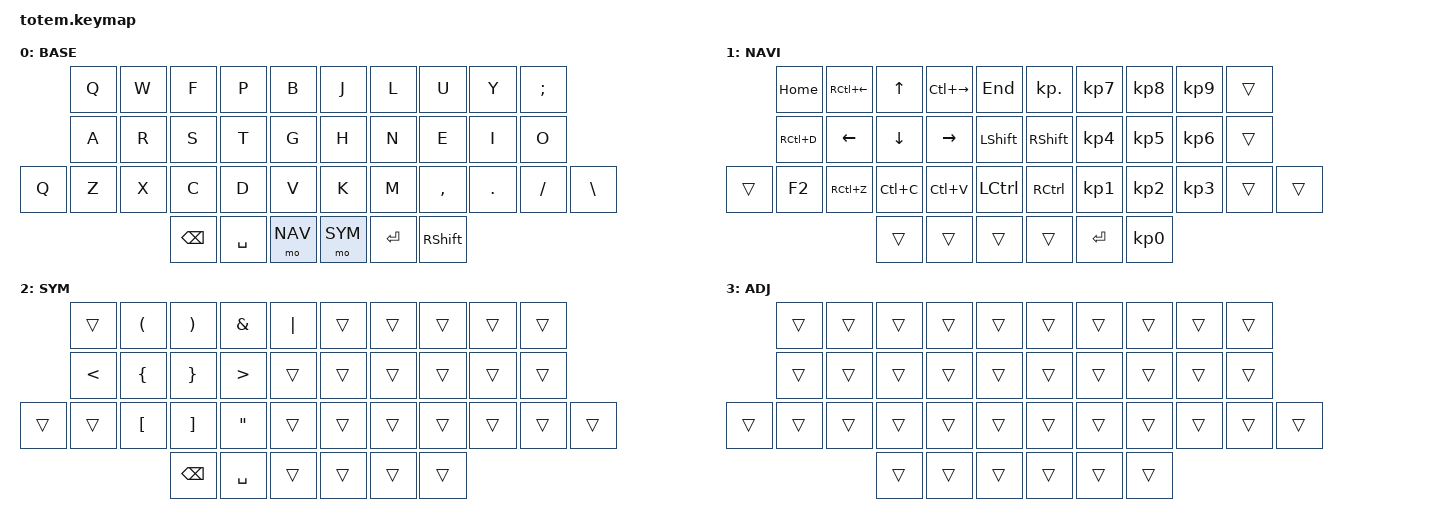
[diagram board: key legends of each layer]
//

//                                                        ▀▀▀▀▀     ▀▀▀▀▀          ▀▀█▀▀

//                                                        ▄▀▀▀▄  ▄  ▄▀▀▀▄  ▄  ▄▀▀▀▄  █  ▄▀▀▀▄

//                                                        █   █  █  █   █  █  █   █  █  █   █

//                                                         ▀▀▀   █   ▀▀▀   █   ▀▀▀   ▀   ▀▀▀

//                                                               █      ▄▄▄█▄▄▄    █   █  

//                                                               ▀      █  █  █     █▄█

//                                                             ▀▀▀▀▀    █  █  █      ▀

//                                                                      ▀  ▀  ▀
//
// ▄▄▄▄▄▄▄▄▄▄▄▄▄▄▄▄▄▄▄▄▄▄▄▄▄▄▄▄▄▄▄▄▄▄▄▄▄▄▄▄▄▄▄▄▄▄▄▄▄▄▄▄▄▄▄▄▄▄▄▄▄▄▄▄▄▄▄▄▄▄▄▄▄▄▄▄▄▄▄▄▄▄▄▄▄▄▄▄▄▄▄▄▄▄▄▄▄▄▄▄▄▄▄▄▄▄▄▄▄▄▄▄▄▄▄▄▄▄▄▄▄▄▄▄▄▄▄▄▄▄▄▄▄▄▄▄▄▄▄▄▄▄▄▄▄▄▄▄▄


#include <behaviors.dtsi>
#include <dt-bindings/zmk/keys.h>

#define BASE 0
#define NAV  1
#define SYM  2
#define ADJ  3
#define TVP1 4
#define TVP2 5

&mt {
    quick-tap-ms = <100>;
    global-quick-tap;
    flavor = "tap-preferred";
    tapping-term-ms = <170>;
};

/ {
    combos {
        compatible = "zmk,combos";

        combo_esc {
            timeout-ms = <50>;
            key-positions = <0 1>;
            bindings = <&kp ESC>;
        };

        third_layer {
            bindings = <&mo ADJ>;
            key-positions = <34 35>;
        };

        bootloader {
            bindings = <&bootloader>;
            key-positions = <0 4 5 9>;
        };
    };

    macros {
        NavWordLeft: NavWordLeft {
            compatible = "zmk,behavior-macro";
            #binding-cells = <0>;
            bindings = <&none>, <&macro_press>, <&kp LC(LEFT)>;

            label = "NAVWORDLEFT";
        };
    };

    keymap {
        compatible = "zmk,keymap";

        // ▄▄▄▄▄▄▄▄▄▄▄▄▄▄▄▄▄▄▄▄▄▄▄▄▄▄▄▄▄▄▄▄▄▄▄▄▄▄▄▄▄▄▄▄▄▄▄▄▄▄▄▄▄▄▄▄▄▄▄▄▄▄▄▄▄▄▄▄▄▄▄▄▄▄▄▄▄▄▄▄▄▄▄▄▄▄▄▄▄▄▄▄▄▄▄▄▄▄▄▄▄▄▄▄▄▄▄▄▄▄▄▄▄▄▄▄▄▄▄▄▄▄▄▄▄▄▄▄▄▄▄▄▄▄▄▄▄▄▄▄▄▄▄▄▄▄▄▄▄
        base_layer {
            // ┏━━━━━━━━━━━━━━━━━━━━━━━━━━━━━━━━━━━━━━━┓
            label = "BASE";
            // ┗━━━━━━━━━━━━━━━━━━━━━━━━━━━━━━━━━━━━━━━┛
            //             ┏━━━━━━━━━━━┳━━━━━━━━━━━┳━━━━━━━━━━━┳━━━━━━━━━━━┳━━━━━━━━━━━┓   ┏━━━━━━━━━━━┳━━━━━━━━━━━┳━━━━━━━━━━━┳━━━━━━━━━━━┳━━━━━━━━━━━┓
            //             ┃     Q     ┃     W     ┃     F     ┃     P     ┃     B     ┃   ┃     J     ┃     L     ┃     U     ┃     Y     ┃     ;     ┃
            //             ┣━━━━━━━━━━━╋━━━━━━━━━━━╋━━━━━━━━━━━╋━━━━━━━━━━━╋━━━━━━━━━━━┫   ┣━━━━━━━━━━━╋━━━━━━━━━━━╋━━━━━━━━━━━╋━━━━━━━━━━━╋━━━━━━━━━━━┫

            //             ┃     A     ┃     R     ┃     S     ┃     T     ┃     G     ┃   ┃     H     ┃     N     ┃     E     ┃     I     ┃     O     ┃

            // ┏━━━━━━━━━━━╋━━━━━━━━━━━╋━━━━━━━━━━━╋━━━━━━━━━━━╋━━━━━━━━━━━╋━━━━━━━━━━━┫   ┣━━━━━━━━━━━╋━━━━━━━━━━━╋━━━━━━━━━━━╋━━━━━━━━━━━╋━━━━━━━━━━━╋━━━━━━━━━━━┓

            // ┃     Q     ┃     Z     ┃     X     ┃     C     ┃     D     ┃     V     ┃   ┃     K     ┃     M     ┃     ,     ┃     .     ┃     /     ┃     \     ┃

            // ┗━━━━━━━━━━━┻━━━━━━━━━━━┻━━━━━━━━━━━╋━━━━━━━━━━━╋━━━━━━━━━━━╋━━━━━━━━━━━┫   ┣━━━━━━━━━━━╋━━━━━━━━━━━╋━━━━━━━━━━━╋━━━━━━━━━━━┻━━━━━━━━━━━┻━━━━━━━━━━━┛
            //                                     ┃    BKSP   ┃   SPACE   ┃    BOOT   ┃   ┃   ENTER   ┃  ENTER    ┃   SHIFT   ┃
            //                                     ┗━━━━━━━━━━━┻━━━━━━━━━━━┻━━━━━━━━━━━┛   ┗━━━━━━━━━━━┻━━━━━━━━━━━┻━━━━━━━━━━━┛
            bindings = <
       &kp Q  &kp W  &kp F     &kp P      &kp B    &kp J  &kp L      &kp U      &kp Y    &kp SEMI
       &kp A  &kp R  &kp S     &kp T      &kp G    &kp H  &kp N      &kp E      &kp I    &kp O
&kp Q  &kp Z  &kp X  &kp C     &kp D      &kp V    &kp K  &kp M      &kp COMMA  &kp DOT  &kp FSLH  &kp BSLH
                     &kp BSPC  &kp SPACE  &mo NAV    &mo SYM  &kp ENTER  &kp RSHFT
            >;
        };
        // ▄▄▄▄▄▄▄▄▄▄▄▄▄▄▄▄▄▄▄▄▄▄▄▄▄▄▄▄▄▄▄▄▄▄▄▄▄▄▄▄▄▄▄▄▄▄▄▄▄▄▄▄▄▄▄▄▄▄▄▄▄▄▄▄▄▄▄▄▄▄▄▄▄▄▄▄▄▄▄▄▄▄▄▄▄▄▄▄▄▄▄▄▄▄▄▄▄▄▄▄▄▄▄▄▄▄▄▄▄▄▄▄▄▄▄▄▄▄▄▄▄▄▄▄▄▄▄▄▄▄▄▄▄▄▄▄▄▄▄▄▄▄▄▄▄▄▄▄▄
        nav_layer {
            // ┏━━━━━━━━━━━━━━━━━━━━━━━━━━━━━━━━━━━━━━━┓
            label = "NAVI";
            // ┗━━━━━━━━━━━━━━━━━━━━━━━━━━━━━━━━━━━━━━━┛
            //             ┏━━━━━━━━━━━┳━━━━━━━━━━━┳━━━━━━━━━━━┳━━━━━━━━━━━┳━━━━━━━━━━━┓   ┏━━━━━━━━━━━┳━━━━━━━━━━━┳━━━━━━━━━━━┳━━━━━━━━━━━┳━━━━━━━━━━━┓
            //             ┃           ┃           ┃     UP    ┃           ┃     {     ┃   ┃     }     ┃     7     ┃     8     ┃     9     ┃     +     ┃
            //             ┣━━━━━━━━━━━╋━━━━━━━━━━━╋━━━━━━━━━━━╋━━━━━━━━━━━╋━━━━━━━━━━━┫   ┣━━━━━━━━━━━╋━━━━━━━━━━━╋━━━━━━━━━━━╋━━━━━━━━━━━╋━━━━━━━━━━━┫

            //             ┃   SHIFT   ┃   LEFT    ┃    DOWN   ┃   RIGHT   ┃     [     ┃   ┃     ]     ┃     4     ┃     5     ┃     6     ┃     -     ┃

            // ┏━━━━━━━━━━━╋━━━━━━━━━━━╋━━━━━━━━━━━╋━━━━━━━━━━━╋━━━━━━━━━━━╋━━━━━━━━━━━┫   ┣━━━━━━━━━━━╋━━━━━━━━━━━╋━━━━━━━━━━━╋━━━━━━━━━━━╋━━━━━━━━━━━╋━━━━━━━━━━━┓

            // ┃           ┃           ┃   P UP    ┃  C LOCK   ┃  P DOWN   ┃     (     ┃   ┃     )     ┃     1     ┃     2     ┃     3     ┃     *     ┃           ┃

            // ┗━━━━━━━━━━━┻━━━━━━━━━━━┻━━━━━━━━━━━╋━━━━━━━━━━━╋━━━━━━━━━━━╋━━━━━━━━━━━┫   ┣━━━━━━━━━━━╋━━━━━━━━━━━╋━━━━━━━━━━━╋━━━━━━━━━━━┻━━━━━━━━━━━┻━━━━━━━━━━━┛
            //                                     ┃           ┃    TAB    ┃    SPC    ┃   ┃    DEL    ┃     0     ┃           ┃
            //                                     ┗━━━━━━━━━━━┻━━━━━━━━━━━┻━━━━━━━━━━━┛   ┗━━━━━━━━━━━┻━━━━━━━━━━━┻━━━━━━━━━━━┛
            bindings = <
        &kp HOME   &kp RC(LEFT_ARROW)  &kp UP     &kp LC(RIGHT_ARROW)  &kp END       &kp KP_DOT  &kp KP_N7  &kp KP_N8        &kp KP_N9  &trans
        &kp RC(D)  &kp LEFT            &kp DOWN   &kp RIGHT            &kp LSHIFT    &kp RSHIFT  &kp KP_N4  &kp KP_N5        &kp KP_N6  &trans
&trans  &kp F2     &kp RC(Z)           &kp LC(C)  &kp LC(V)            &kp LCTRL     &kp RCTRL   &kp KP_N1  &kp KP_N2        &kp KP_N3  &trans  &trans
                                       &trans     &trans               &trans        &trans      &kp ENTER  &kp KP_NUMBER_0
            >;
        };
        // ▄▄▄▄▄▄▄▄▄▄▄▄▄▄▄▄▄▄▄▄▄▄▄▄▄▄▄▄▄▄▄▄▄▄▄▄▄▄▄▄▄▄▄▄▄▄▄▄▄▄▄▄▄▄▄▄▄▄▄▄▄▄▄▄▄▄▄▄▄▄▄▄▄▄▄▄▄▄▄▄▄▄▄▄▄▄▄▄▄▄▄▄▄▄▄▄▄▄▄▄▄▄▄▄▄▄▄▄▄▄▄▄▄▄▄▄▄▄▄▄▄▄▄▄▄▄▄▄▄▄▄▄▄▄▄▄▄▄▄▄▄▄▄▄▄▄▄▄▄
        sym_layer {
            // ┏━━━━━━━━━━━━━━━━━━━━━━━━━━━━━━━━━━━━━━━┓
            label = "SYM";
            // ┗━━━━━━━━━━━━━━━━━━━━━━━━━━━━━━━━━━━━━━━┛
            //             ┏━━━━━━━━━━━┳━━━━━━━━━━━┳━━━━━━━━━━━┳━━━━━━━━━━━┳━━━━━━━━━━━┓   ┏━━━━━━━━━━━┳━━━━━━━━━━━┳━━━━━━━━━━━┳━━━━━━━━━━━┳━━━━━━━━━━━┓
            //             ┃     !     ┃     @     ┃     #     ┃     $     ┃     %     ┃   ┃     ˆ     ┃     &     ┃     Ü     ┃     '     ┃     "     ┃
            //             ┣━━━━━━━━━━━╋━━━━━━━━━━━╋━━━━━━━━━━━╋━━━━━━━━━━━╋━━━━━━━━━━━┫   ┣━━━━━━━━━━━╋━━━━━━━━━━━╋━━━━━━━━━━━╋━━━━━━━━━━━╋━━━━━━━━━━━┫

            //             ┃     Ä     ┃           ┃    SZ     ┃           ┃           ┃   ┃   MUTE    ┃   YEN     ┃   EURO    ┃  POUND    ┃     Ö     ┃

            // ┏━━━━━━━━━━━╋━━━━━━━━━━━╋━━━━━━━━━━━╋━━━━━━━━━━━╋━━━━━━━━━━━╋━━━━━━━━━━━┫   ┣━━━━━━━━━━━╋━━━━━━━━━━━╋━━━━━━━━━━━╋━━━━━━━━━━━╋━━━━━━━━━━━╋━━━━━━━━━━━┓

            // ┃           ┃  EMAIL1   ┃  EMAIL2   ┃           ┃           ┃           ┃   ┃   VOL-    ┃   VOL+    ┃   LAST    ┃   NEXT    ┃     \     ┃           ┃

            // ┗━━━━━━━━━━━┻━━━━━━━━━━━┻━━━━━━━━━━━╋━━━━━━━━━━━╋━━━━━━━━━━━╋━━━━━━━━━━━┫   ┣━━━━━━━━━━━╋━━━━━━━━━━━╋━━━━━━━━━━━╋━━━━━━━━━━━┻━━━━━━━━━━━┻━━━━━━━━━━━┛
            //                                     ┃           ┃    GIF    ┃    ADJ    ┃   ┃           ┃           ┃           ┃
            //                                     ┗━━━━━━━━━━━┻━━━━━━━━━━━┻━━━━━━━━━━━┛   ┗━━━━━━━━━━━┻━━━━━━━━━━━┻━━━━━━━━━━━┛
            bindings = <
        &trans         &kp LEFT_PARENTHESIS  &kp RIGHT_PARENTHESIS  &kp AMPERSAND      &kp PIPE    &trans  &trans  &trans  &trans  &trans
        &kp LESS_THAN  &kp LEFT_BRACE        &kp RIGHT_BRACE        &kp GREATER_THAN   &trans      &trans  &trans  &trans  &trans  &trans
&trans  &trans         &kp LEFT_BRACKET      &kp RIGHT_BRACKET      &kp DOUBLE_QUOTES  &trans      &trans  &trans  &trans  &trans  &trans  &trans
                                             &kp BACKSPACE          &kp SPACE          &trans      &trans  &trans  &trans
            >;
        };
        // ▄▄▄▄▄▄▄▄▄▄▄▄▄▄▄▄▄▄▄▄▄▄▄▄▄▄▄▄▄▄▄▄▄▄▄▄▄▄▄▄▄▄▄▄▄▄▄▄▄▄▄▄▄▄▄▄▄▄▄▄▄▄▄▄▄▄▄▄▄▄▄▄▄▄▄▄▄▄▄▄▄▄▄▄▄▄▄▄▄▄▄▄▄▄▄▄▄▄▄▄▄▄▄▄▄▄▄▄▄▄▄▄▄▄▄▄▄▄▄▄▄▄▄▄▄▄▄▄▄▄▄▄▄▄▄▄▄▄▄▄▄▄▄▄▄▄▄▄▄
        adjust_layer {
            // ┏━━━━━━━━━━━━━━━━━━━━━━━━━━━━━━━━━━━━━━━┓
            label = "ADJ";
            // ┗━━━━━━━━━━━━━━━━━━━━━━━━━━━━━━━━━━━━━━━┛
            //             ┏━━━━━━━━━━━┳━━━━━━━━━━━┳━━━━━━━━━━━┳━━━━━━━━━━━┳━━━━━━━━━━━┓   ┏━━━━━━━━━━━┳━━━━━━━━━━━┳━━━━━━━━━━━┳━━━━━━━━━━━┳━━━━━━━━━━━┓
            //             ┃   RESET   ┃ BT CLEAR  ┃  OUT TOG  ┃           ┃           ┃   ┃           ┃    F7     ┃    F8     ┃    F9     ┃    F12    ┃
            //             ┣━━━━━━━━━━━╋━━━━━━━━━━━╋━━━━━━━━━━━╋━━━━━━━━━━━╋━━━━━━━━━━━┫   ┣━━━━━━━━━━━╋━━━━━━━━━━━╋━━━━━━━━━━━╋━━━━━━━━━━━╋━━━━━━━━━━━┫

            //             ┃ BOOTLOAD  ┃ BT NEXT   ┃           ┃           ┃           ┃   ┃           ┃    F4     ┃    F5     ┃    F6     ┃    F11    ┃

            // ┏━━━━━━━━━━━╋━━━━━━━━━━━╋━━━━━━━━━━━╋━━━━━━━━━━━╋━━━━━━━━━━━╋━━━━━━━━━━━┫   ┣━━━━━━━━━━━╋━━━━━━━━━━━╋━━━━━━━━━━━╋━━━━━━━━━━━╋━━━━━━━━━━━╋━━━━━━━━━━━┓

            // ┃           ┃           ┃ BT PREV   ┃           ┃           ┃           ┃   ┃           ┃    F1     ┃    F2     ┃    F3     ┃    F10    ┃           ┃

            // ┗━━━━━━━━━━━┻━━━━━━━━━━━┻━━━━━━━━━━━╋━━━━━━━━━━━╋━━━━━━━━━━━╋━━━━━━━━━━━┫   ┣━━━━━━━━━━━╋━━━━━━━━━━━╋━━━━━━━━━━━╋━━━━━━━━━━━┻━━━━━━━━━━━┻━━━━━━━━━━━┛
            //                                     ┃           ┃           ┃           ┃   ┃           ┃           ┃           ┃
            //                                     ┗━━━━━━━━━━━┻━━━━━━━━━━━┻━━━━━━━━━━━┛   ┗━━━━━━━━━━━┻━━━━━━━━━━━┻━━━━━━━━━━━┛
            bindings = <
        &trans  &trans  &trans  &trans  &trans    &trans  &trans  &trans  &trans  &trans
        &trans  &trans  &trans  &trans  &trans    &trans  &trans  &trans  &trans  &trans
&trans  &trans  &trans  &trans  &trans  &trans    &trans  &trans  &trans  &trans  &trans  &trans
                        &trans  &trans  &trans    &trans  &trans  &trans
            >;
        };
        // ▄▄▄▄▄▄▄▄▄▄▄▄▄▄▄▄▄▄▄▄▄▄▄▄▄▄▄▄▄▄▄▄▄▄▄▄▄▄▄▄▄▄▄▄▄▄▄▄▄▄▄▄▄▄▄▄▄▄▄▄▄▄▄▄▄▄▄▄▄▄▄▄▄▄▄▄▄▄▄▄▄▄▄▄▄▄▄▄▄▄▄▄▄▄▄▄▄▄▄▄▄▄▄▄▄▄▄▄▄▄▄▄▄▄▄▄▄▄▄▄▄▄▄▄▄▄▄▄▄▄▄▄▄▄▄▄▄▄▄▄▄▄▄▄▄▄▄▄▄
        // ▄▄▄▄▄▄▄▄▄▄▄▄▄▄▄▄▄▄▄▄▄▄▄▄▄▄▄▄▄▄▄▄▄▄▄▄▄▄▄▄▄▄▄▄▄▄▄▄▄▄▄▄▄▄▄▄▄▄▄▄▄▄▄▄▄▄▄▄▄▄▄▄▄▄▄▄▄▄▄▄▄▄▄▄▄▄▄▄▄▄▄▄▄▄▄▄▄▄▄▄▄▄▄▄▄▄▄▄▄▄▄▄▄▄▄▄▄▄▄▄▄▄▄▄▄▄▄▄▄▄▄▄▄▄▄▄▄▄▄▄▄▄▄▄▄▄▄▄▄
    };
};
